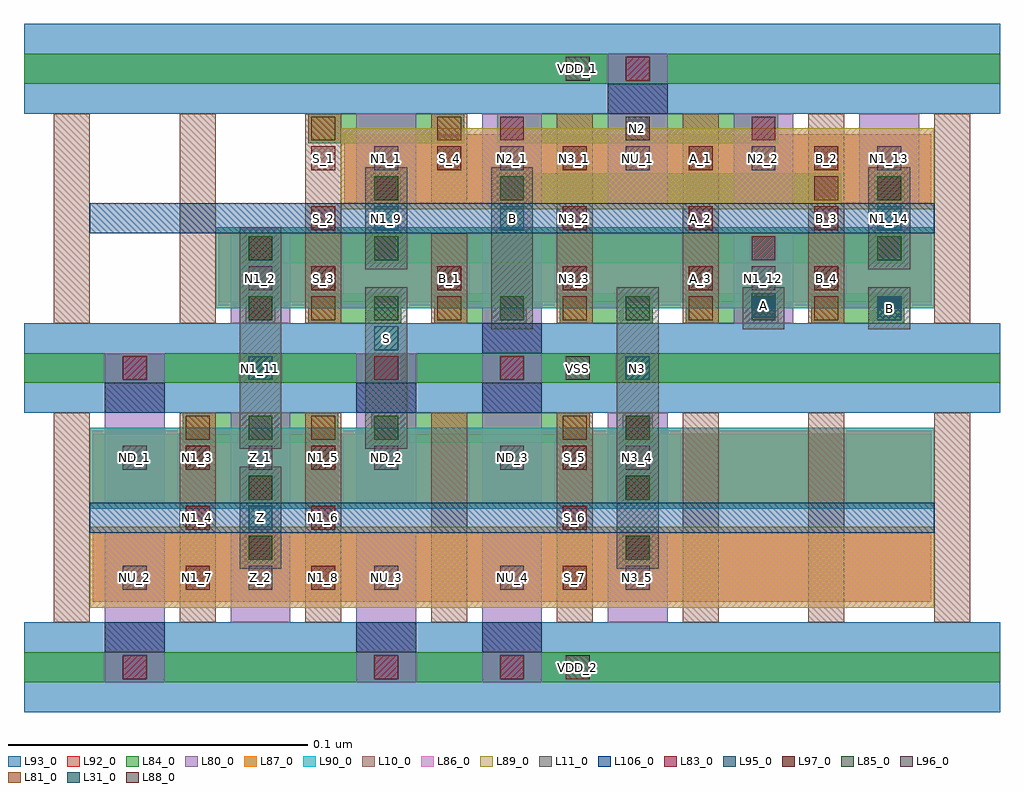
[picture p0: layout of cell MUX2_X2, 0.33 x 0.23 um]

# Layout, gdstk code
import gdstk
lib = gdstk.Library(unit=1e-6, precision=1e-09)
def R(c, l, rs):  # rectangles x0, y0, x1, y1
    for r in rs: c.add(gdstk.rectangle(r[:2], r[2:], *l))
def A(c, l, x, y, w, h, nx, ny, dx, dy):  # array of equal rectangles
    R(c, l, [(x+i*dx, y+j*dy, x+i*dx+w, y+j*dy+h) for i in range(nx) for j in range(ny)])
L10_0 = (10, 0)
L11_0 = (11, 0)
L31_0 = (31, 0)
L80_0 = (80, 0)
L81_0 = (81, 0)
L83_0 = (83, 0)
L84_0 = (84, 0)
L85_0 = (85, 0)
L86_0 = (86, 0)
L87_0 = (87, 0)
L88_0 = (88, 0)
L89_0 = (89, 0)
L90_0 = (90, 0)
L92_0 = (92, 0)
L93_0 = (93, 0)
L95_0 = (95, 0)
L96_0 = (96, 0)
L97_0 = (97, 0)
L106_0 = (106, 0)

mux2_x2 = lib.new_cell('MUX2_X2')
A(mux2_x2, L10_0, -0.027, -0.085, 0.012, 0.07, 8, 1, 0.042, 0)
A(mux2_x2, L10_0, -0.027, 0.015, 0.012, 0.07, 3, 1, 0.042, 0)
A(mux2_x2, L10_0, 0.141, 0.015, 0.012, 0.07, 4, 1, 0.042, 0)
R(mux2_x2, L10_0, [(0.099,0.015,0.111,0.045), (0.099,0.055,0.111,0.085)])
A(mux2_x2, L11_0, 0.161, -0.067, 0.014, 0.034, 1, 4, 0, 0.02)
A(mux2_x2, L11_0, 0.035, -0.027, 0.014, 0.034, 1, 3, 0, 0.02)
R(mux2_x2, L11_0, [(0.035,-0.067,0.049,-0.033), (0.077,-0.027,0.091,0.007), (0.077,-0.007,0.091,0.027), (0.119,0.013,0.133,0.047), (0.203,0.013,0.217,0.027), (0.245,0.013,0.259,0.027), (0.077,0.033,0.091,0.067), (0.119,0.033,0.133,0.067), (0.245,0.033,0.259,0.067)])
R(mux2_x2, L31_0, [(0.038,-0.054,0.046,-0.046), (0.038,-0.004,0.046,0.004), (0.164,-0.004,0.172,0.004), (0.08,0.006,0.088,0.014), (0.248,0.016,0.256,0.024), (0.206,0.017,0.214,0.025), (0.08,0.046,0.088,0.054), (0.122,0.046,0.13,0.054), (0.248,0.046,0.256,0.054)])
A(mux2_x2, L80_0, -0.01, -0.085, 0.02, 0.03, 5, 2, 0.042, 0.04)
A(mux2_x2, L80_0, 0.032, 0.015, 0.02, 0.03, 3, 1, 0.084, 0)
A(mux2_x2, L80_0, 0.074, 0.055, 0.02, 0.03, 5, 1, 0.042, 0)
R(mux2_x2, L80_0, [(-0.01,-0.105,0.01,-0.075), (0.074,-0.105,0.094,-0.075), (0.116,-0.105,0.136,-0.075), (-0.01,-0.025,0.01,0.005), (0.074,-0.025,0.094,0.005), (0.116,-0.025,0.136,0.005), (0.116,-0.005,0.136,0.025), (0.158,0.075,0.178,0.105)])
A(mux2_x2, L81_0, 0.059, 0.016, 0.008, 0.008, 5, 1, 0.042, 0)
R(mux2_x2, L81_0, [(0.017,-0.024,0.025,-0.016), (0.059,-0.024,0.067,-0.016), (0.143,-0.024,0.151,-0.016), (0.227,0.056,0.235,0.064), (0.227,0.056,0.235,0.064), (0.059,0.076,0.067,0.084), (0.059,0.076,0.067,0.084), (0.101,0.076,0.109,0.084), (0.101,0.076,0.109,0.084)])
A(mux2_x2, L83_0, 0.164, -0.064, 0.008, 0.008, 1, 3, 0, 0.02)
R(mux2_x2, L83_0, [(-0.004,-0.104,0.004,-0.096), (0.08,-0.104,0.088,-0.096), (0.122,-0.104,0.13,-0.096), (0.038,-0.064,0.046,-0.056), (0.038,-0.044,0.046,-0.036), (-0.004,-0.004,0.004,0.004), (0.08,-0.004,0.088,0.004), (0.122,-0.004,0.13,0.004), (0.122,-0.004,0.13,0.004), (0.038,0.016,0.046,0.024), (0.038,0.036,0.046,0.044), (0.038,0.036,0.046,0.044), (0.206,0.036,0.214,0.044), (0.206,0.036,0.214,0.044), (0.08,0.056,0.088,0.064), (0.08,0.056,0.088,0.064), (0.248,0.056,0.256,0.064), (0.248,0.056,0.256,0.064), (0.122,0.076,0.13,0.084), (0.122,0.076,0.13,0.084), (0.206,0.076,0.214,0.084), (0.206,0.076,0.214,0.084), (0.164,0.096,0.172,0.104)])
A(mux2_x2, L84_0, -0.037, -0.105, 0.326, 0.01, 1, 3, 0, 0.1)
A(mux2_x2, L84_0, 0.163, -0.065, 0.01, 0.01, 1, 3, 0, 0.02)
A(mux2_x2, L84_0, 0.079, -0.025, 0.031, 0.01, 3, 1, 0.021, 0)
A(mux2_x2, L84_0, 0.058, 0.015, 0.031, 0.01, 5, 1, 0.042, 0)
A(mux2_x2, L84_0, 0.037, 0.035, 0.031, 0.01, 10, 1, 0.021, 0)
A(mux2_x2, L84_0, 0.121, 0.055, 0.031, 0.01, 5, 1, 0.021, 0)
A(mux2_x2, L84_0, 0.121, 0.075, 0.031, 0.01, 4, 1, 0.021, 0)
R(mux2_x2, L84_0, [(0.037,-0.065,0.047,-0.055), (0.037,-0.045,0.047,-0.035), (0.016,-0.025,0.047,-0.015), (0.037,-0.025,0.068,-0.015), (0.037,0.015,0.047,0.025), (0.079,0.055,0.089,0.065), (0.247,0.055,0.257,0.065), (0.058,0.075,0.089,0.085), (0.079,0.075,0.11,0.085)])
A(mux2_x2, L85_0, 0.038, -0.064, 0.008, 0.008, 1, 3, 0, 0.02)
A(mux2_x2, L85_0, 0.164, -0.064, 0.008, 0.008, 1, 3, 0, 0.02)
A(mux2_x2, L85_0, 0.038, 0.016, 0.008, 0.008, 6, 1, 0.042, 0)
R(mux2_x2, L85_0, [(0.08,-0.024,0.088,-0.016), (0.038,0.036,0.046,0.044), (0.08,0.036,0.088,0.044), (0.248,0.036,0.256,0.044), (0.08,0.056,0.088,0.064), (0.122,0.056,0.13,0.064), (0.248,0.056,0.256,0.064)])
R(mux2_x2, L86_0, [(-0.015,-0.08,0.267,-0.053), (0.069,0.053,0.267,0.08)])
R(mux2_x2, L87_0, [(-0.015,-0.047,0.267,-0.02), (0.027,0.02,0.267,0.047)])
A(mux2_x2, L88_0, 0.144, -0.104, 0.008, 0.008, 1, 3, 0, 0.1)
R(mux2_x2, L88_0, [(0.164,0.076,0.172,0.084)])
R(mux2_x2, L89_0, [(-0.015,-0.08,0.267,-0.053), (0.069,0.053,0.267,0.08)])
R(mux2_x2, L90_0, [(-0.015,-0.047,0.267,-0.02), (0.027,0.02,0.267,0.047)])
R(mux2_x2, L92_0, [(-0.014,-0.078,0.266,-0.055), (-0.014,-0.045,0.266,-0.022), (0.028,0.022,0.266,0.045), (0.07,0.055,0.266,0.078)])
A(mux2_x2, L93_0, -0.037, -0.115, 0.326, 0.03, 1, 3, 0, 0.1)
R(mux2_x2, L95_0, [(-0.01,-0.095,0.01,-0.085), (0.074,-0.095,0.094,-0.085), (0.116,-0.095,0.136,-0.085), (-0.01,-0.015,0.01,-0.005), (0.074,-0.015,0.094,-0.005), (0.116,-0.015,0.136,-0.005), (0.116,0.005,0.136,0.015), (0.158,0.085,0.178,0.095)])
A(mux2_x2, L96_0, -0.004, -0.074, 0.008, 0.008, 5, 2, 0.042, 0.04)
A(mux2_x2, L96_0, 0.08, 0.066, 0.008, 0.008, 5, 1, 0.042, 0)
R(mux2_x2, L96_0, [(0.038,0.026,0.046,0.034), (0.206,0.026,0.214,0.034)])
A(mux2_x2, L97_0, 0.017, -0.074, 0.008, 0.008, 1, 3, 0, 0.02)
A(mux2_x2, L97_0, 0.059, -0.074, 0.008, 0.008, 1, 3, 0, 0.02)
A(mux2_x2, L97_0, 0.143, -0.074, 0.008, 0.008, 1, 3, 0, 0.02)
A(mux2_x2, L97_0, 0.059, 0.026, 0.008, 0.008, 5, 2, 0.042, 0.04)
A(mux2_x2, L97_0, 0.143, 0.046, 0.008, 0.008, 3, 1, 0.042, 0)
R(mux2_x2, L97_0, [(0.059,0.046,0.067,0.054)])
R(mux2_x2, L106_0, [(-0.015,-0.055,0.267,-0.045), (-0.015,0.045,0.267,0.055)])
mux2_x2.add(gdstk.Label('A_1', (0.189,0.07), layer=97, texttype=0))
mux2_x2.add(gdstk.Label('A_2', (0.189,0.05), layer=97, texttype=0))
mux2_x2.add(gdstk.Label('A_3', (0.189,0.03), layer=97, texttype=0))
mux2_x2.add(gdstk.Label('B_2', (0.231,0.07), layer=97, texttype=0))
mux2_x2.add(gdstk.Label('B_3', (0.231,0.05), layer=97, texttype=0))
mux2_x2.add(gdstk.Label('B_4', (0.231,0.03), layer=97, texttype=0))
mux2_x2.add(gdstk.Label('B_1', (0.105,0.03), layer=97, texttype=0))
mux2_x2.add(gdstk.Label('N3_2', (0.147,0.05), layer=97, texttype=0))
mux2_x2.add(gdstk.Label('N3_1', (0.147,0.07), layer=97, texttype=0))
mux2_x2.add(gdstk.Label('N3_3', (0.147,0.03), layer=97, texttype=0))
mux2_x2.add(gdstk.Label('N1_5', (0.063,-0.03), layer=97, texttype=0))
mux2_x2.add(gdstk.Label('N1_6', (0.063,-0.05), layer=97, texttype=0))
mux2_x2.add(gdstk.Label('N1_8', (0.063,-0.07), layer=97, texttype=0))
mux2_x2.add(gdstk.Label('N1_7', (0.021,-0.07), layer=97, texttype=0))
mux2_x2.add(gdstk.Label('N1_4', (0.021,-0.05), layer=97, texttype=0))
mux2_x2.add(gdstk.Label('N1_3', (0.021,-0.03), layer=97, texttype=0))
mux2_x2.add(gdstk.Label('S_5', (0.147,-0.03), layer=97, texttype=0))
mux2_x2.add(gdstk.Label('S_7', (0.147,-0.07), layer=97, texttype=0))
mux2_x2.add(gdstk.Label('S_6', (0.147,-0.05), layer=97, texttype=0))
mux2_x2.add(gdstk.Label('S_4', (0.105,0.07), layer=97, texttype=0))
mux2_x2.add(gdstk.Label('S_1', (0.063,0.07), layer=97, texttype=0))
mux2_x2.add(gdstk.Label('S_2', (0.063,0.05), layer=97, texttype=0))
mux2_x2.add(gdstk.Label('S_3', (0.063,0.03), layer=97, texttype=0))
mux2_x2.add(gdstk.Label('Z', (0.042,-0.05), layer=31, texttype=0))
mux2_x2.add(gdstk.Label('B', (0.252,0.02), layer=31, texttype=0))
mux2_x2.add(gdstk.Label('A', (0.21,0.021), layer=31, texttype=0))
mux2_x2.add(gdstk.Label('N3', (0.168,0), layer=31, texttype=0))
mux2_x2.add(gdstk.Label('N1_14', (0.252,0.05), layer=31, texttype=0))
mux2_x2.add(gdstk.Label('B', (0.126,0.05), layer=31, texttype=0))
mux2_x2.add(gdstk.Label('N1_11', (0.042,0), layer=31, texttype=0))
mux2_x2.add(gdstk.Label('N1_9', (0.084,0.05), layer=31, texttype=0))
mux2_x2.add(gdstk.Label('S', (0.084,0.01), layer=31, texttype=0))
mux2_x2.add(gdstk.Label('N3_4', (0.168,-0.03), layer=96, texttype=0))
mux2_x2.add(gdstk.Label('N3_5', (0.168,-0.07), layer=96, texttype=0))
mux2_x2.add(gdstk.Label('Z_2', (0.042,-0.07), layer=96, texttype=0))
mux2_x2.add(gdstk.Label('Z_1', (0.042,-0.03), layer=96, texttype=0))
mux2_x2.add(gdstk.Label('ND_1', (0,-0.03), layer=96, texttype=0))
mux2_x2.add(gdstk.Label('ND_2', (0.084,-0.03), layer=96, texttype=0))
mux2_x2.add(gdstk.Label('ND_3', (0.126,-0.03), layer=96, texttype=0))
mux2_x2.add(gdstk.Label('NU_2', (0,-0.07), layer=96, texttype=0))
mux2_x2.add(gdstk.Label('NU_3', (0.084,-0.07), layer=96, texttype=0))
mux2_x2.add(gdstk.Label('NU_4', (0.126,-0.07), layer=96, texttype=0))
mux2_x2.add(gdstk.Label('NU_1', (0.168,0.07), layer=96, texttype=0))
mux2_x2.add(gdstk.Label('N2_2', (0.21,0.07), layer=96, texttype=0))
mux2_x2.add(gdstk.Label('N2_1', (0.126,0.07), layer=96, texttype=0))
mux2_x2.add(gdstk.Label('N1_13', (0.252,0.07), layer=96, texttype=0))
mux2_x2.add(gdstk.Label('N1_12', (0.21,0.03), layer=96, texttype=0))
mux2_x2.add(gdstk.Label('N1_1', (0.084,0.07), layer=96, texttype=0))
mux2_x2.add(gdstk.Label('N1_2', (0.042,0.03), layer=96, texttype=0))
mux2_x2.add(gdstk.Label('VDD_1', (0.148,0.1), layer=88, texttype=0))
mux2_x2.add(gdstk.Label('VSS', (0.148,0), layer=88, texttype=0))
mux2_x2.add(gdstk.Label('VDD_2', (0.148,-0.1), layer=88, texttype=0))
mux2_x2.add(gdstk.Label('N2', (0.168,0.08), layer=88, texttype=0))

lib.write_gds('MUX2_X2.gds')
